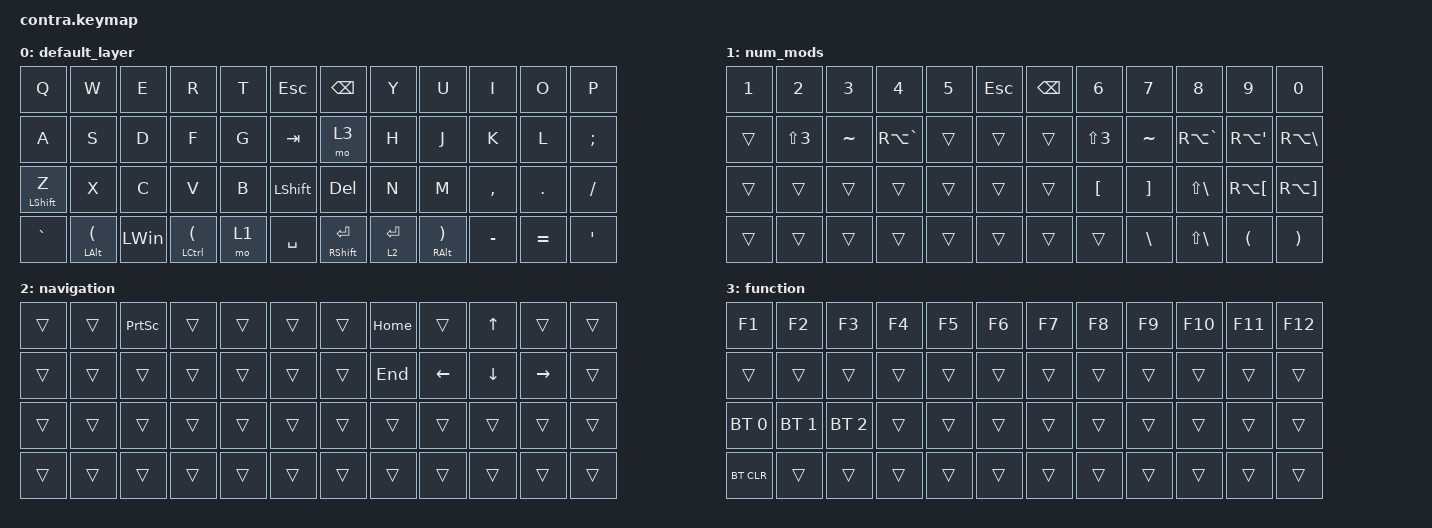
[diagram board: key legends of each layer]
/*
 * Copyright (c) 2021 The ZMK Contributors
 *
 * SPDX-License-Identifier: MIT
 */

#include <behaviors.dtsi>
#include <dt-bindings/zmk/bt.h>
#include <dt-bindings/zmk/keys.h>

#define DEFAULT  0
#define NUM_MODS 1
#define BT_CTRL  2

/ {
    combos {
        compatible = "zmk,combos";

        tab {
            bindings = <&kp TAB>;
            key-positions = <0 1>;
        };
    };

    keymap {
        compatible = "zmk,keymap";

        default_layer {
            bindings = <
&kp Q             &kp W                          &kp E         &kp R                              &kp T  &kp ESCAPE      &kp BACKSPACE          &kp Y        &kp U                            &kp I      &kp O       &kp P
&kp A             &kp S                          &kp D         &kp F                              &kp G  &kp TAB         &mo 3                  &kp H        &kp J                            &kp K      &kp L       &kp SEMICOLON
&mt LEFT_SHIFT Z  &kp X                          &kp C         &kp V                              &kp B  &kp LEFT_SHIFT  &kp DEL                &kp N        &kp M                            &kp COMMA  &kp PERIOD  &kp SLASH
&kp GRAVE         &mt LEFT_ALT LEFT_PARENTHESIS  &kp LEFT_WIN  &mt LEFT_CONTROL LEFT_PARENTHESIS  &mo 1  &kp SPACE       &mt RIGHT_SHIFT ENTER  &lt 2 ENTER  &mt RIGHT_ALT RIGHT_PARENTHESIS  &kp MINUS  &kp EQUAL   &kp APOS
            >;
        };

        num_mods {
            bindings = <
&kp NUMBER_1  &kp NUMBER_2      &kp NUMBER_3  &kp NUMBER_4   &kp NUMBER_5  &kp ESCAPE  &kp BACKSPACE  &kp NUMBER_6      &kp N7             &kp N8             &kp N9                &kp N0
&trans        &kp LS(NUMBER_3)  &kp TILDE     &kp RA(GRAVE)  &trans        &trans      &trans         &kp LS(NUMBER_3)  &kp TILDE          &kp RA(GRAVE)      &kp RA(SINGLE_QUOTE)  &kp RA(BACKSLASH)
&trans        &trans            &trans        &trans         &trans        &trans      &trans         &kp LEFT_BRACKET  &kp RIGHT_BRACKET  &kp LS(BACKSLASH)  &kp RA(LEFT_BRACKET)  &kp RA(RIGHT_BRACKET)
&trans        &trans            &trans        &trans         &trans        &trans      &trans         &trans            &kp BACKSLASH      &kp LS(BACKSLASH)  &kp LEFT_PARENTHESIS  &kp RIGHT_PARENTHESIS
            >;
        };

        navigation {
            bindings = <
&trans  &trans  &kp PRINTSCREEN  &trans  &trans  &trans  &trans  &kp HOME  &trans    &kp UP_ARROW  &trans     &trans
&trans  &trans  &trans           &trans  &trans  &trans  &trans  &kp END   &kp LEFT  &kp DOWN      &kp RIGHT  &trans
&trans  &trans  &trans           &trans  &trans  &trans  &trans  &trans    &trans    &trans        &trans     &trans
&trans  &trans  &trans           &trans  &trans  &trans  &trans  &trans    &trans    &trans        &trans     &trans
            >;
        };

        function {
            bindings = <
&kp F1        &kp F2        &kp F3        &kp F4  &kp F5  &kp F6  &kp F7  &kp F8  &kp F9  &kp F10  &kp F11  &kp F12
&trans        &trans        &trans        &trans  &trans  &trans  &trans  &trans  &trans  &trans   &trans   &trans
&bt BT_SEL 0  &bt BT_SEL 1  &bt BT_SEL 2  &trans  &trans  &trans  &trans  &trans  &trans  &trans   &trans   &trans
&bt BT_CLR    &trans        &trans        &trans  &trans  &trans  &trans  &trans  &trans  &trans   &trans   &trans
            >;
        };
    };
};
